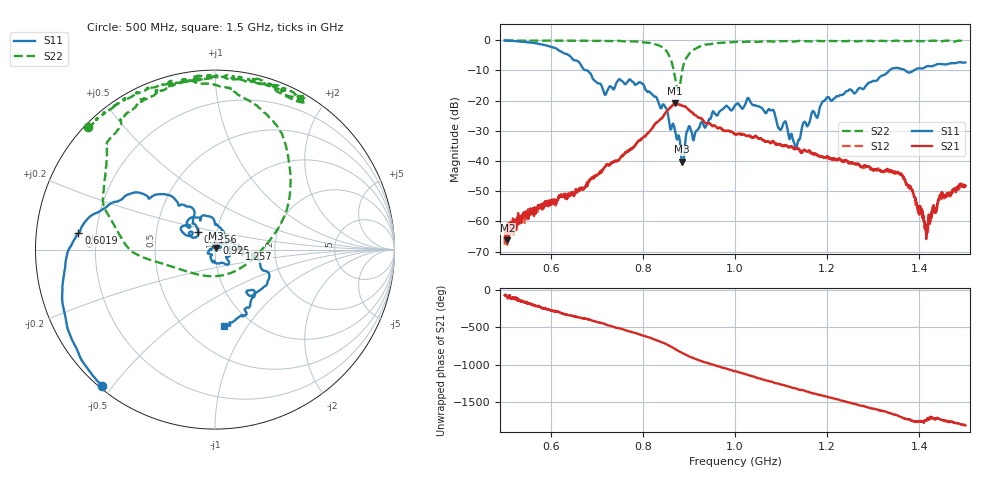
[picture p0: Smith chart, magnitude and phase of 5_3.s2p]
!Agilent Technologies,E8364B,US42250235,A.06.04.32
!Agilent E8364B: A.06.04.32
!Date: Friday, January 15, 2021 16:14:47
!Correction: S11(Full 2 Port(1,2)) S21(Full 2 Port(1,2)) S12(Full 2 Port(1,2)) S22(Full 2 Port(1,2))
!S2P File: Measurements: S11, S21, S12, S22:
# Hz S  dB  R 50
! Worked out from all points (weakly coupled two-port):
!   1601 points, 500 MHz to 1.5 GHz, reference 50 ohm
!   highest |S21| = -20.90 dB at 870 MHz (marker M1); lowest = -66.2 dB at 506.2 MHz (marker M2)
!   lowest |S11| = -40.3 dB at 885 MHz (marker M3), VSWR 1.02, Z = 50.4 + j0.888 ohm
!   |S11| at or under -10 dB: 676.8 MHz to 1.335 GHz (658.7 MHz wide, 65.5 % of centre); 1.369 GHz to 1.388 GHz (19.19 MHz wide, 1.39 % of centre)
!   |S22| runs from -16.6 to -0.1 dB; largest |S21 - S12| = 0.0025
!   S11 on the Smith chart (normalised r, x): 500 MHz: 0.01, -0.47; 601.9 MHz: 0.13, +0.06; 715.6 MHz: 0.81, +0.17; 925 MHz: 1.02, +0.08; 1.257 GHz: 1.31, +0.01; 1.5 GHz: 0.76, -0.79
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5e8  -0.12 -129.6  -62.96 -72.8  -64.85 -65.9  -0.16 136.0
5.0625e8  -0.16 -132.2  -66.23 -101.7  -63.40 -77.8  -0.19 135.1
6.01875e8  -2.32 173.2  -54.36 81.1  -53.23 80.1  -0.19 125.6
6.66875e8  -8.55 128.7  -48.74 -19.1  -49.15 -20.2  -0.21 116.2
7.15625e8  -17.28 133.3  -42.18 -92.1  -42.30 -94.0  -0.27 111.7
7.73125e8  -13.11 125.6  -36.35 160.6  -36.04 159.5  -0.46 98.1
8.3375e8  -20.53 58.7  -26.85 37.0  -26.81 36.1  -1.70 71.6
8.7e8  -30.12 19.0  -20.90 -72.5  -20.90 -73.0  -12.51 -6.9
8.775e8  -31.50 42.6  -21.34 -98.7  -21.30 -99.1  -16.56 -91.1
8.85e8  -40.26 65.1  -21.73 -123.8  -21.66 -124.1  -10.62 -163.9
8.9875e8  -29.16 110.4  -23.01 -166.5  -22.86 -167.2  -4.92 167.7
9.25e8  -27.62 73.9  -25.89 132.4  -25.70 131.4  -2.01 139.4
1e9  -21.62 1.3  -31.20 -8.8  -31.10 -8.9  -0.57 115.2
1.08e9  -23.24 -90.7  -33.80 -147.5  -33.61 -150.3  -0.44 104.7
1.13125e9  -35.94 154.3  -35.87 122.8  -35.78 120.1  -0.45 95.0
1.166875e9  -23.98 66.8  -37.54 59.4  -37.46 60.9  -0.39 91.4
1.256875e9  -17.41 1.4  -40.75 -82.0  -40.88 -82.3  -0.29 86.6
1.33375e9  -10.30 -22.8  -42.86 154.5  -43.30 154.3  -0.37 76.7
1.381875e9  -10.57 -50.2  -49.13 60.9  -49.39 52.9  -0.27 70.8
1.415e9  -8.79 -57.3  -65.86 51.7  -61.32 67.1  -0.36 67.1
1.44625e9  -7.89 -67.2  -51.27 68.6  -52.60 64.2  -0.47 64.8
1.5e9  -7.40 -83.0  -48.21 -12.7  -48.65 -12.7  -0.26 60.8
